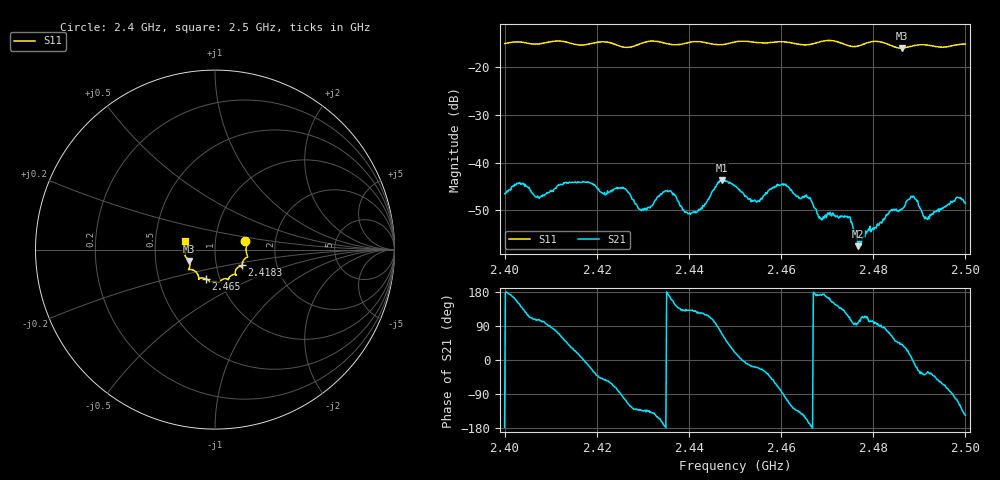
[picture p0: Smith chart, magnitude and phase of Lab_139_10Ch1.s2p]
# Hz S RI R 50
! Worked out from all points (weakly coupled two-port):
!   601 points, 2.4 GHz to 2.5 GHz, reference 50 ohm
!   highest |S21| = -43.67 dB at 2.4472 GHz (marker M1); lowest = -57.5 dB at 2.4767 GHz (marker M2)
!   lowest |S11| = -16.1 dB at 2.4862 GHz (marker M3), VSWR 1.37, Z = 37.2 - j4.83 ohm
!   |S11| at or under -10 dB: start of sweep to end of sweep
!   S12 and S22 are empty: the file has one direction only
!   S11 on the Smith chart (normalised r, x): 2.4 GHz: 1.40, +0.14; 2.4183 GHz: 1.33, -0.24; 2.465 GHz: 0.86, -0.28; 2.5 GHz: 0.71, +0.07
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2.4e9  0.1688 0.0472  -0.00473 -0.000166  0 0  0 0
2.416667e9  0.1547 -0.068  0.00615 0.000796  0 0  0 0
2.418333e9  0.1501 -0.0868  0.00598 -0.00171  0 0  0 0
2.425833e9  0.1268 -0.0988  -0.000992 -0.00531  0 0  0 0
2.429667e9  0.1134 -0.1343  -0.0021 -0.00233  0 0  0 0
2.433333e9  0.1177 -0.141  -0.00398 -0.00201  0 0  0 0
2.435833e9  0.1018 -0.1392  -0.0049 0.00111  0 0  0 0
2.441333e9  0.0749 -0.1679  -0.00198 0.00234  0 0  0 0
2.447167e9  0.043 -0.1653  0.00247 0.00607  0 0  0 0
2.45e9  0.0262 -0.1803  0.00534 0.00191  0 0  0 0
2.454333e9  0.0124 -0.1802  0.00387 -0.00125  0 0  0 0
2.4605e9  -0.028 -0.1809  -4.09e-05 -0.00579  0 0  0 0
2.465e9  -0.0525 -0.1615  -0.00362 -0.00237  0 0  0 0
2.466667e9  -0.0713 -0.1577  -0.0039 -0.000344  0 0  0 0
2.4685e9  -0.0869 -0.1612  -0.00257 0.000322  0 0  0 0
2.4745e9  -0.0973 -0.1358  -0.00119 0.00236  0 0  0 0
2.476667e9  -0.1175 -0.1156  -0.000194 0.00132  0 0  0 0
2.483333e9  -0.1412 -0.0965  0.000897 0.00276  0 0  0 0
2.486167e9  -0.1436 -0.0633  0.00249 0.00213  0 0  0 0
2.488667e9  -0.1605 -0.0425  0.00447 -0.00017  0 0  0 0
2.491667e9  -0.1664 -0.0307  0.00213 -0.00143  0 0  0 0
2.5e9  -0.1665 0.0467  -0.00311 -0.0021  0 0  0 0
